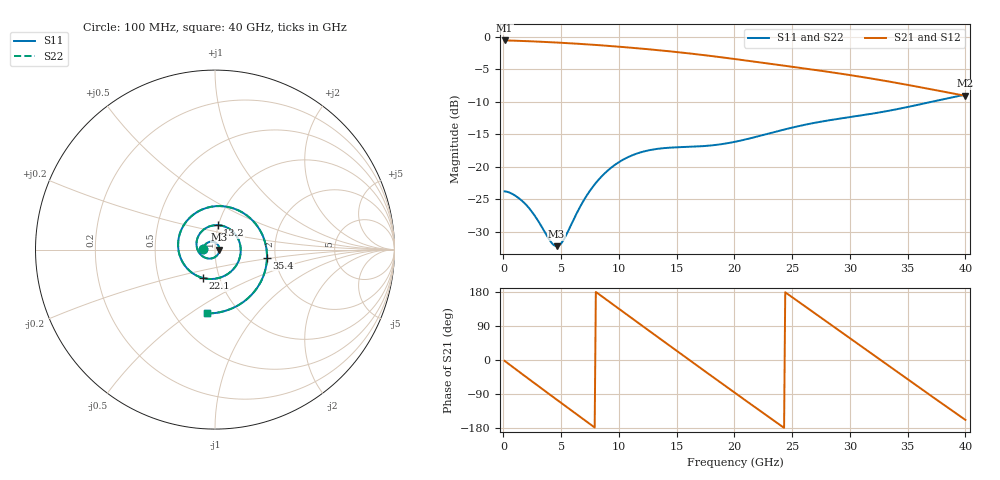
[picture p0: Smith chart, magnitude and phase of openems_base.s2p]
! D_s8_stitch_1p0: L1 (ref L2) → L8 (ref L7), one GND via at 1 mm
! stackup: 8-layer 1.6 mm FR-4 (generic)
! ports: 1, 2
! openEMS 0.37.0, staircase, base mesh (dfine 0.035 mm), 904995 cells
# Hz S RI R 50
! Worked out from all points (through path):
!   400 points, 100 MHz to 40 GHz, reference 50 ohm
!   highest |S21| = -0.59 dB at 100 MHz (marker M1); lowest = -9.1 dB at 40 GHz (marker M2)
!   group delay of S21, straight-line fit = 60.9 ps
!   lowest |S11| = -32.2 dB at 4.6 GHz (marker M3), VSWR 1.05, Z = 52.5 + j0.00205 ohm
!   |S11| at or under -10 dB: start of sweep to 37.11 GHz
!   |S22| runs from -32.2 to -8.9 dB; largest |S21 - S12| = 3e-05
!   S11 on the Smith chart (normalised r, x): 100 MHz: 0.88, +0.01; 13.2 GHz: 0.99, +0.28; 22.1 GHz: 0.83, -0.27; 35.4 GHz: 1.80, -0.18; 40 GHz: 0.72, -0.59
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1e8  -0.0648 0.00354  0.9334 -0.0377  0.9334 -0.0377  -0.0648 0.00353
2.5e9  -0.0106 0.0435  0.5002 -0.7715  0.5002 -0.7716  -0.0106 0.0436
4.6e9  0.0246 1.95e-05  -0.2231 -0.8726  -0.2231 -0.8725  0.0246 7.42e-06
6.8e9  -0.0189 -0.0489  -0.7858 -0.3898  -0.7858 -0.3898  -0.0189 -0.0489
8.6e9  -0.0825 -0.0253  -0.8306 0.2039  -0.8306 0.2039  -0.0825 -0.0253
1.05e10  -0.099 0.0592  -0.4631 0.6883  -0.4631 0.6884  -0.099 0.0592
1.18e10  -0.0595 0.1141  -0.0718 0.8077  -0.0718 0.8077  -0.0595 0.1141
1.32e10  0.0142 0.1363  0.3455 0.7102  0.3455 0.7102  0.0142 0.1363
1.34e10  0.0256 0.1354  0.3978 0.6787  0.3978 0.6788  0.0256 0.1354
1.5e10  0.1055 0.094  0.6941 0.3126  0.6941 0.3126  0.1055 0.094
1.65e10  0.1419 0.018  0.7272 -0.1134  0.7272 -0.1134  0.1419 0.018
1.84e10  0.1205 -0.0849  0.4453 -0.5433  0.4453 -0.5433  0.1205 -0.0849
2.01e10  0.0486 -0.1484  0.0249 -0.6711  0.0249 -0.6711  0.0486 -0.1484
2.21e10  -0.0692 -0.1575  -0.4206 -0.4767  -0.4206 -0.4767  -0.0692 -0.1575
2.43e10  -0.1799 -0.071  -0.5981 -0.0091  -0.5981 -0.0091  -0.1799 -0.071
2.67e10  -0.194 0.0944  -0.351 0.4354  -0.351 0.4354  -0.194 0.0944
2.94e10  -0.0508 0.2312  0.174 0.486  0.174 0.486  -0.0508 0.2312
3.15e10  0.1132 0.2257  0.4382 0.2019  0.4382 0.2019  0.1132 0.2257
3.34e10  0.2375 0.1283  0.4333 -0.1276  0.4333 -0.1276  0.2375 0.1283
3.54e10  0.2897 -0.0446  0.2125 -0.3617  0.2125 -0.3618  0.2897 -0.0446
3.75e10  0.2131 -0.2412  -0.0979 -0.3744  -0.0979 -0.3744  0.2131 -0.2412
4e10  -0.0425 -0.3558  -0.3256 -0.1311  -0.3256 -0.1311  -0.0425 -0.3558
